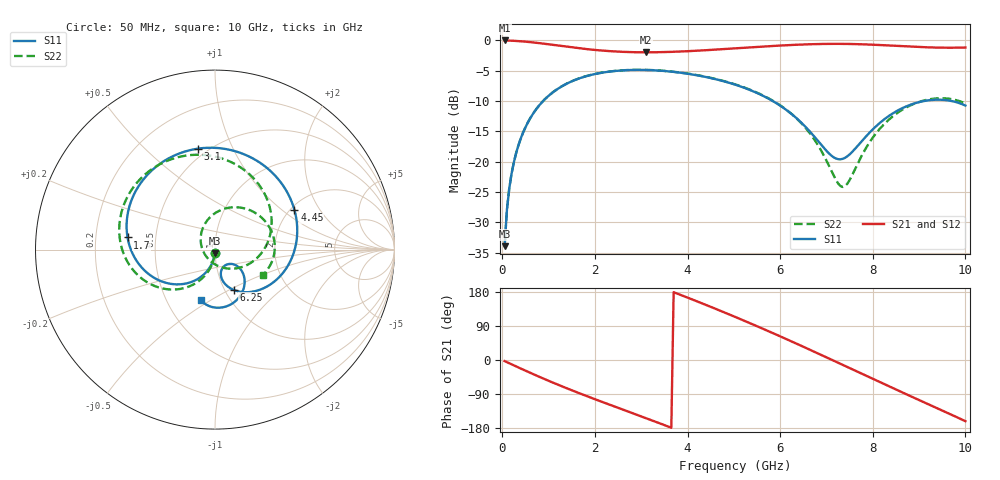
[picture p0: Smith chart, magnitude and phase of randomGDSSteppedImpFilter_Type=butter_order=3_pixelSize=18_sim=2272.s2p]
! freq	dB(S11)	phase(S11)	dB(S12)	phase(S12)
!  dB(S21)	phase(S21)	dB(S22)	phase(S22)
!S-par simulation data
#  GHz  S  DB  R 50
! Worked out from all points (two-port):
!   200 points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, 50 MHz to 10 GHz, reference 50 ohm
!   highest |S21| = -0.01 dB at 50 MHz (marker M1); lowest = -2.0 dB at 3.1 GHz (marker M2)
!   |S21| within 3 dB of the highest: start of sweep to end of sweep
!   lowest |S11| = -33.9 dB at 50 MHz (marker M3), VSWR 1.04, Z = 49.9 - j2 ohm
!   |S11| at or under -10 dB: start of sweep to 881.3 MHz; 5.841 GHz to 9.1 GHz (3.258 GHz wide, 43.6 % of centre); 9.708 GHz to end of sweep
!   |S22| runs from -33.9 to -4.8 dB; largest |S21 - S12| = 0
!   S11 on the Smith chart (normalised r, x): 50 MHz: 1.00, -0.04; 1.7 GHz: 0.34, +0.06; 3.1 GHz: 0.44, +0.74; 4.45 GHz: 2.11, +1.23; 6.25 GHz: 1.10, -0.52; 10 GHz: 0.74, -0.45
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0.05  -33.93 -93.1  -0.01 -2.9  -0.01 -2.9  -33.92 -92.6
0.1  -27.93 -96.3  -0.02 -5.7  -0.02 -5.7  -27.92 -95.4
0.2  -21.98 -102.6  -0.05 -11.4  -0.05 -11.4  -21.97 -100.8
0.5  -14.32 -120.8  -0.20 -28.2  -0.20 -28.2  -14.32 -116.5
1.1  -8.51 -155.5  -0.74 -60.0  -0.74 -60.0  -8.50 -145.7
1.7  -6.16 172.1  -1.33 -89.4  -1.33 -89.4  -6.15 -172.1
1.75  -6.04 169.5  -1.37 -91.8  -1.37 -91.8  -6.03 -174.2
2.35  -5.11 138.5  -1.78 -119.4  -1.78 -119.4  -5.09 161.6
3.1  -4.87 99.7  -1.96 -153.4  -1.96 -153.4  -4.85 132.8
3.4  -4.98 83.8  -1.94 -167.1  -1.94 -167.1  -4.96 121.3
3.95  -5.43 54.0  -1.79 167.1  -1.79 167.1  -5.41 100.0
4.45  -6.12 26.4  -1.59 142.8  -1.59 142.8  -6.08 79.9
5.05  -7.34 -6.7  -1.30 112.6  -1.30 112.6  -7.30 54.0
5.65  -9.21 -38.3  -1.00 81.3  -1.00 81.3  -9.15 25.2
6.25  -12.15 -65.3  -0.75 48.8  -0.75 48.8  -12.14 -8.5
6.7  -15.52 -76.8  -0.62 23.9  -0.62 23.9  -15.92 -40.6
7.35  -19.53 -52.8  -0.57 -12.9  -0.57 -12.9  -24.16 -144.1
7.9  -15.45 -36.9  -0.67 -44.2  -0.67 -44.2  -17.17 119.1
8.35  -12.44 -46.3  -0.83 -69.5  -0.83 -69.5  -13.04 81.6
9.1  -10.00 -72.8  -1.12 -111.1  -1.12 -111.1  -9.92 30.9
9.55  -9.82 -90.0  -1.20 -136.0  -1.20 -136.0  -9.54 2.2
10  -10.75 -106.0  -1.17 -161.5  -1.17 -161.5  -10.42 -27.6
